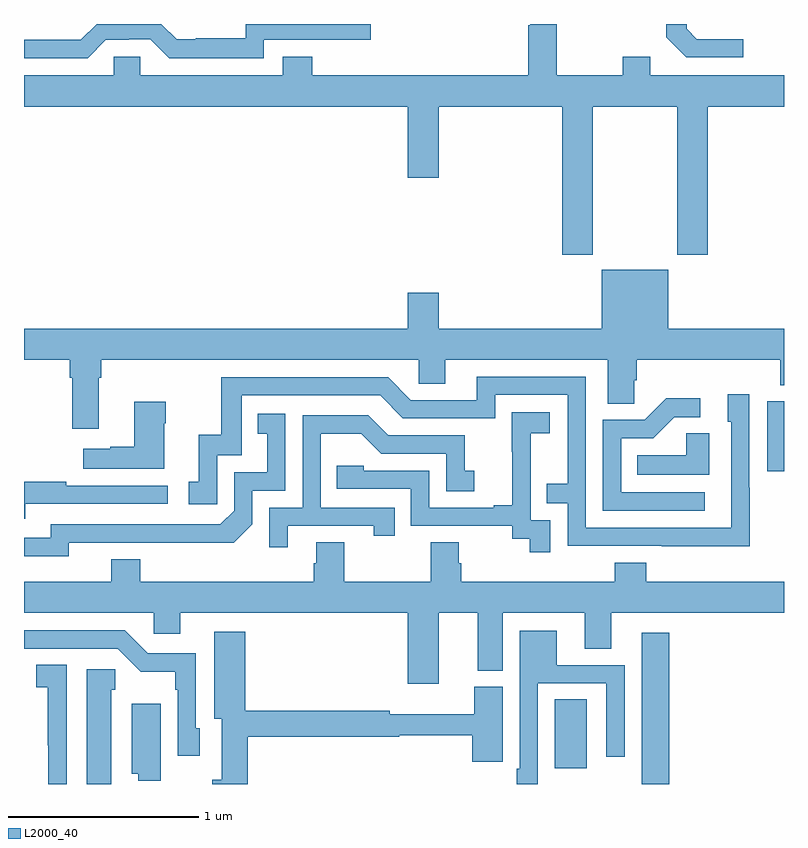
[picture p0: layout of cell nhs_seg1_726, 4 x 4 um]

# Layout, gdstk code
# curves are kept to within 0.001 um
import gdstk
lib = gdstk.Library(unit=1e-6, precision=1e-09)
def R(c, l, rs):  # rectangles x0, y0, x1, y1
    for r in rs: c.add(gdstk.rectangle(r[:2], r[2:], *l))
def P(c, l, *ps):  # polygons
    for p in ps: c.add(gdstk.Polygon(p, *l))
L2000_40 = (2000, 40)

nhs_seg1_726 = lib.new_cell('nhs_seg1_726')
R(nhs_seg1_726, L2000_40, [(154.25,516.199,154.397,516.996), (153.794,516.282,153.961,516.644), (154.911,517.845,155,518.214), (153.941,520.197,154.09,520.199)])
P(nhs_seg1_726, L2000_40, [(154.786,520.119),(154.542,520.119),(154.488,520.173),(154.488,520.199),(154.38,520.199),(154.38,520.129),(154.485,520.023),(154.786,520.023)],
  [(152.262,520.116),(152.824,520.116),(152.824,520.199),(152.166,520.199),(152.166,520.123),(151.903,520.123),(151.903,520.119),(151.803,520.119),(151.723,520.199),(151.382,520.199),(151.299,520.116),(151,520.116),(151,520.02),(151.335,520.02),(151.431,520.116),(151.55,520.116),(151.55,520.119),(151.665,520.119),(151.765,520.019),(152.262,520.019)],
  [(153.993,519.764),(154.438,519.764),(154.438,518.985),(154.598,518.985),(154.598,519.764),(155,519.764),(155,519.928),(154.297,519.928),(154.297,520.027),(154.15,520.027),(154.15,519.928),(153.805,519.928),(153.805,520.199),(153.665,520.199),(153.665,520.193),(153.653,520.193),(153.653,519.928),(152.516,519.928),(152.516,520.027),(152.363,520.027),(152.363,519.928),(151.611,519.928),(151.611,520.026),(151.473,520.026),(151.473,519.928),(151,519.928),(151,519.764),(153.02,519.764),(153.02,519.39),(153.184,519.39),(153.184,519.764),(153.833,519.764),(153.833,518.985),(153.993,518.985)],
  [(151.393,518.336),(151.406,518.336),(151.406,518.432),(153.078,518.432),(153.078,518.305),(153.217,518.305),(153.217,518.432),(154.073,518.432),(154.073,518.2),(154.212,518.2),(154.212,518.323),(154.226,518.323),(154.226,518.432),(154.979,518.432),(154.979,518.299),(155,518.299),(155,518.596),(154.39,518.596),(154.39,518.905),(154.04,518.905),(154.04,518.596),(153.184,518.596),(153.184,518.785),(153.02,518.785),(153.02,518.596),(151,518.596),(151,518.432),(151.241,518.432),(151.241,518.336),(151.253,518.336),(151.253,518.07),(151.393,518.07)],
  [(154.821,517.757),(154.818,517.757),(154.818,518.251),(154.703,518.251),(154.703,518.106),(154.722,518.106),(154.722,517.548),(153.957,517.548),(153.957,518.343),(153.383,518.343),(153.383,518.22),(153.036,518.22),(152.916,518.34),(152.037,518.34),(152.037,518.038),(151.919,518.038),(151.919,517.791),(151.866,517.791),(151.866,517.671),(152.016,517.671),(152.016,517.929),(152.145,517.929),(152.145,518.244),(152.874,518.244),(152.994,518.124),(153.48,518.124),(153.48,518.247),(153.861,518.247),(153.861,517.778),(153.751,517.778),(153.751,517.677),(153.861,517.677),(153.861,517.452),(154.821,517.451)],
  [(154.582,517.734),(154.143,517.734),(154.143,518.019),(154.312,518.019),(154.423,518.13),(154.558,518.13),(154.558,518.228),(154.379,518.228),(154.266,518.115),(154.047,518.115),(154.047,517.638),(154.582,517.638)],
  [(151.738,518.099),(151.746,518.099),(151.746,518.212),(151.58,518.212),(151.58,517.973),(151.454,517.973),(151.454,517.963),(151.311,517.963),(151.311,517.859),(151.738,517.859)],
  [(153.771,517.587),(153.666,517.587),(153.666,517.817),(153.668,517.817),(153.668,518.045),(153.766,518.045),(153.766,518.155),(153.568,518.155),(153.568,517.949),(153.569,517.949),(153.569,517.666),(153.473,517.666),(153.473,517.653),(153.132,517.653),(153.132,517.848),(152.787,517.848),(152.787,517.875),(152.647,517.875),(152.647,517.752),(153.036,517.752),(153.036,517.557),(153.57,517.557),(153.57,517.489),(153.663,517.489),(153.663,517.419),(153.771,517.419)],
  [(151.236,517.47),(152.104,517.469),(152.202,517.566),(152.202,517.743),(152.376,517.743),(152.376,518.149),(152.23,518.149),(152.23,518.043),(152.279,518.043),(152.279,517.839),(152.106,517.839),(152.106,517.638),(152.034,517.566),(151.14,517.566),(151.14,517.494),(151,517.494),(151,517.397),(151.236,517.397)],
  [(152.389,517.557),(152.84,517.557),(152.84,517.506),(152.951,517.506),(152.951,517.653),(152.562,517.653),(152.562,518.042),(152.776,518.042),(152.88,517.938),(153.222,517.938),(153.222,517.74),(153.37,517.74),(153.37,517.849),(153.321,517.849),(153.321,518.034),(152.917,518.034),(152.812,518.139),(152.466,518.139),(152.466,517.653),(152.292,517.653),(152.292,517.446),(152.389,517.446)],
  [(154.606,518.045),(154.485,518.045),(154.485,517.93),(154.228,517.93),(154.228,517.826),(154.606,517.826)],
  [(151.007,517.674),(151.756,517.674),(151.756,517.77),(151.223,517.77),(151.223,517.79),(151,517.79),(151,517.596),(151.007,517.596)],
  [(153.184,517.1),(153.389,517.1),(153.389,516.796),(153.52,516.796),(153.52,517.1),(153.95,517.1),(153.95,516.91),(154.09,516.91),(154.09,517.1),(155,517.1),(155,517.264),(154.274,517.264),(154.274,517.363),(154.109,517.363),(154.109,517.264),(153.302,517.264),(153.302,517.362),(153.289,517.362),(153.289,517.472),(153.142,517.472),(153.142,517.264),(152.685,517.264),(152.685,517.472),(152.537,517.472),(152.537,517.362),(152.525,517.362),(152.525,517.264),(151.613,517.264),(151.613,517.381),(151.46,517.381),(151.46,517.264),(151,517.264),(151,517.1),(151.683,517.1),(151.683,516.99),(151.822,516.99),(151.822,517.1),(153.02,517.1),(153.02,516.726),(153.184,516.726)],
  [(151.926,516.492),(151.905,516.492),(151.905,516.888),(151.65,516.888),(151.53,517.008),(151,517.008),(151,516.912),(151.494,516.912),(151.615,516.791),(151.797,516.791),(151.797,516.695),(151.809,516.695),(151.809,516.347),(151.926,516.347)],
  [(153.705,516.729),(154.065,516.729),(154.065,516.342),(154.161,516.342),(154.161,516.825),(153.805,516.825),(153.805,517.006),(153.609,517.006),(153.609,516.28),(153.593,516.28),(153.593,516.199),(153.705,516.199)],
  [(152.177,516.448),(152.975,516.448),(152.975,516.456),(153.359,516.456),(153.359,516.315),(153.519,516.315),(153.519,516.427),(153.52,516.427),(153.52,516.711),(153.371,516.711),(153.371,516.565),(152.924,516.565),(152.924,516.584),(152.164,516.584),(152.164,517),(152,517),(152,516.542),(152.042,516.542),(152.042,516.222),(151.992,516.222),(151.992,516.199),(152.177,516.199)],
  [(151.224,516.827),(151.065,516.827),(151.065,516.707),(151.126,516.707),(151.126,516.403),(151.127,516.403),(151.127,516.199),(151.224,516.199)],
  [(151.459,516.696),(151.481,516.696),(151.481,516.802),(151.331,516.802),(151.331,516.199),(151.459,516.199)],
  [(151.72,516.621),(151.568,516.621),(151.568,516.254),(151.6,516.254),(151.6,516.217),(151.72,516.217)])

lib.write_gds('nhs_seg1_726.gds')
